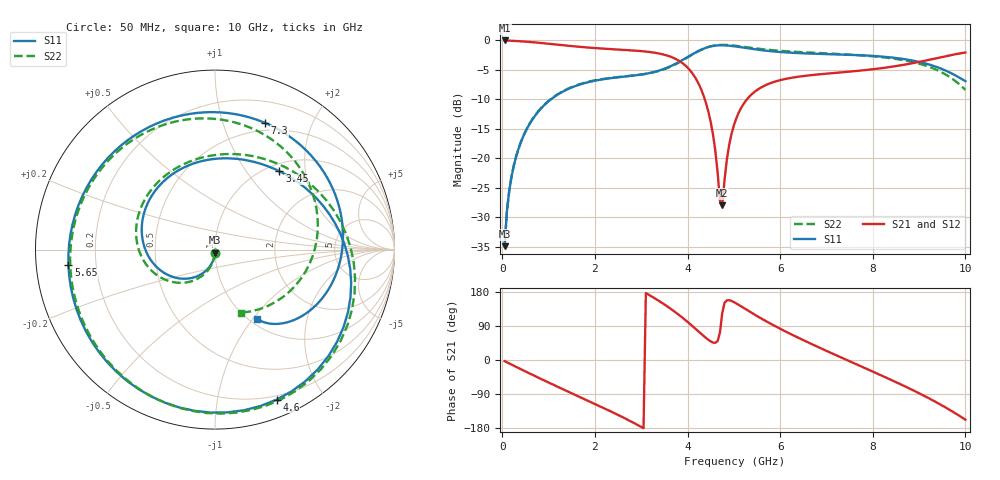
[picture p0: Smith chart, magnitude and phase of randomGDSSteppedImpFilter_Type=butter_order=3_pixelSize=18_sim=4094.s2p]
! freq	dB(S11)	phase(S11)	dB(S12)	phase(S12)
!  dB(S21)	phase(S21)	dB(S22)	phase(S22)
!S-par simulation data
#  GHz  S  DB  R 50
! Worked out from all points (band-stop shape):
!   200 points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, 50 MHz to 10 GHz, reference 50 ohm
!   highest |S21| = -0.01 dB at 50 MHz (marker M1); lowest = -28.0 dB at 4.75 GHz (marker M2)
!   |S21| within 3 dB of the highest: start of sweep to 3.708 GHz; 9.387 GHz to end of sweep
!   lowest |S11| = -34.9 dB at 50 MHz (marker M3), VSWR 1.04, Z = 49.9 - j1.79 ohm
!   |S11| at or under -10 dB: start of sweep to 1.05 GHz
!   |S22| runs from -34.9 to -0.8 dB; largest |S21 - S12| = 0
!   S11 on the Smith chart (normalised r, x): 50 MHz: 1.00, -0.04; 3.45 GHz: 1.13, +1.45; 4.6 GHz: 0.16, -1.48; 5.65 GHz: 0.10, -0.05; 7.3 GHz: 0.42, +1.39; 10 GHz: 1.09, -1.05
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0.05  -34.92 -91.5  -0.01 -3.1  -0.01 -3.1  -34.87 -90.5
0.2  -23.10 -101.5  -0.06 -12.2  -0.06 -12.2  -23.06 -100.0
0.5  -15.49 -121.5  -0.21 -30.2  -0.21 -30.2  -15.42 -117.3
1.1  -9.70 -159.8  -0.65 -65.2  -0.65 -65.2  -9.64 -150.2
1.75  -7.31 160.6  -1.15 -101.8  -1.15 -101.8  -7.24 175.7
2.7  -6.09 102.0  -1.64 -157.1  -1.64 -157.1  -6.07 122.8
3.4  -5.08 54.3  -2.25 154.6  -2.25 154.6  -5.14 72.4
3.45  -4.95 50.5  -2.34 150.6  -2.34 150.6  -5.01 68.1
3.85  -3.51 17.1  -3.63 115.7  -3.63 115.7  -3.59 29.2
4.15  -2.15 -13.7  -6.11 84.8  -6.11 84.8  -2.20 -5.2
4.4  -1.24 -43.2  -10.66 58.1  -10.66 58.1  -1.25 -36.2
4.6  -0.88 -67.7  -18.74 45.2  -18.74 45.2  -0.85 -60.4
4.75  -0.82 -85.6  -27.95 124.2  -27.95 124.2  -0.76 -77.3
4.9  -0.90 -102.7  -17.70 157.8  -17.70 157.8  -0.80 -92.7
5.05  -1.05 -118.7  -13.29 149.5  -13.29 149.5  -0.92 -106.5
5.65  -1.71 -173.9  -7.73 105.5  -7.73 105.5  -1.52 -149.5
6.2  -2.08 143.1  -6.41 70.2  -6.41 70.2  -1.87 -179.2
6.7  -2.25 107.7  -5.87 40.9  -5.87 40.9  -2.09 157.0
7.3  -2.39 68.5  -5.44 7.6  -5.44 7.6  -2.32 129.1
8.35  -2.86 8.0  -4.54 -49.9  -4.54 -49.9  -2.99 75.3
9.25  -4.17 -35.2  -3.24 -103.4  -3.24 -103.4  -4.58 13.9
10  -6.92 -58.6  -2.06 -157.5  -2.06 -157.5  -8.39 -67.4
